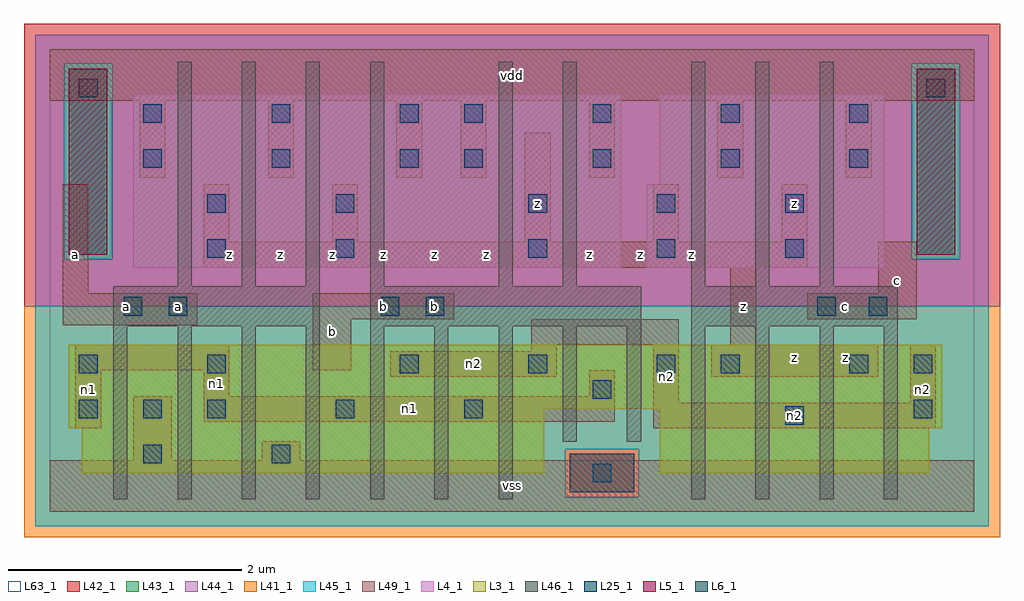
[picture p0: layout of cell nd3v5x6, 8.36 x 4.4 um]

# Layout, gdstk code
import gdstk
lib = gdstk.Library(unit=1e-6, precision=1e-09)
def R(c, l, rs):  # rectangles x0, y0, x1, y1
    for r in rs: c.add(gdstk.rectangle(r[:2], r[2:], *l))
def A(c, l, x, y, w, h, nx, ny, dx, dy):  # array of equal rectangles
    R(c, l, [(x+i*dx, y+j*dy, x+i*dx+w, y+j*dy+h) for i in range(nx) for j in range(ny)])
L3_1 = (3, 1)
L4_1 = (4, 1)
L5_1 = (5, 1)
L6_1 = (6, 1)
L25_1 = (25, 1)
L41_1 = (41, 1)
L42_1 = (42, 1)
L43_1 = (43, 1)
L44_1 = (44, 1)
L45_1 = (45, 1)
L46_1 = (46, 1)
L49_1 = (49, 1)
L63_1 = (63, 1)

nd3v5x6 = lib.new_cell('nd3v5x6')
R(nd3v5x6, L3_1, [(0.275,0.33,4.235,0.715), (5.225,0.33,7.535,0.715), (0.165,0.715,4.235,0.88), (5.225,0.715,7.645,0.88), (0.165,0.88,7.645,1.43)])
R(nd3v5x6, L4_1, [(0.715,2.09,4.895,3.575), (5.115,2.09,7.15,2.805), (5.225,2.805,7.15,3.575)])
R(nd3v5x6, L5_1, [(0.165,2.2,0.495,3.795), (7.425,2.2,7.755,3.795)])
R(nd3v5x6, L6_1, [(4.455,0.165,5.005,0.495)])
A(nd3v5x6, L25_1, 0.25, 0.8, 0.16, 0.16, 3, 1, 0.55, 0)
A(nd3v5x6, L25_1, 3, 1.185, 0.16, 0.16, 3, 1, 1.1, 0)
A(nd3v5x6, L25_1, 4.1, 2.175, 0.16, 0.16, 3, 2, 1.1, 0.385)
A(nd3v5x6, L25_1, 0.8, 2.945, 0.16, 0.16, 3, 2, 1.1, 0.385)
A(nd3v5x6, L25_1, 3.55, 2.945, 0.16, 0.16, 4, 2, 1.1, 0.385)
R(nd3v5x6, L25_1, [(4.65,0.25,4.81,0.41), (0.8,0.415,0.96,0.575), (1.9,0.415,2.06,0.575), (6.3,0.745,6.46,0.905), (2.45,0.8,2.61,0.96), (3.55,0.8,3.71,0.96), (7.4,0.8,7.56,0.96), (4.65,0.965,4.81,1.125), (0.25,1.185,0.41,1.345), (1.35,1.185,1.51,1.345), (5.75,1.185,5.91,1.345), (6.85,1.185,7.01,1.345), (7.4,1.185,7.56,1.345), (0.635,1.68,0.795,1.84), (1.02,1.68,1.18,1.84), (2.835,1.68,2.995,1.84), (3.22,1.68,3.38,1.84), (6.575,1.68,6.735,1.84), (7.015,1.68,7.175,1.84), (1.35,2.175,1.51,2.335), (2.45,2.175,2.61,2.335), (1.35,2.56,1.51,2.72), (2.45,2.56,2.61,2.72), (0.25,3.55,0.41,3.71), (7.51,3.55,7.67,3.71)])
R(nd3v5x6, L41_1, [(-0.22,-0.22,8.14,1.76)])
R(nd3v5x6, L42_1, [(-0.22,1.76,8.14,4.18)])
R(nd3v5x6, L43_1, [(4.455,0.165,5.005,0.495), (0.275,0.33,4.235,0.715), (5.225,0.33,7.535,0.715), (0.165,0.715,4.235,0.88), (5.225,0.715,7.645,0.88), (0.165,0.88,7.645,1.43), (0.715,2.09,4.895,3.575), (5.115,2.09,7.15,2.805), (0.165,2.2,0.495,3.795), (7.425,2.2,7.755,3.795), (5.225,2.805,7.15,3.575)])
R(nd3v5x6, L44_1, [(4.415,0.125,5.045,0.535), (-0.125,1.76,8.045,2.16), (-0.125,2.16,0.125,3.835), (0.535,2.16,7.385,3.835), (7.795,2.16,8.045,3.835), (-0.125,3.835,8.045,4.085)])
R(nd3v5x6, L45_1, [(-0.125,-0.125,8.045,0.125), (-0.125,0.125,4.415,0.535), (5.045,0.125,8.045,0.535), (-0.125,0.535,8.045,1.76), (0.125,2.16,0.535,3.835), (7.385,2.16,7.795,3.835)])
A(nd3v5x6, L46_1, 0.545, 0.105, 0.12, 1.485, 7, 1, 0.55, 0)
A(nd3v5x6, L46_1, 5.495, 0.105, 0.12, 1.485, 4, 1, 0.55, 0)
A(nd3v5x6, L46_1, 1.095, 1.93, 0.12, 1.925, 4, 1, 0.55, 0)
A(nd3v5x6, L46_1, 5.495, 1.93, 0.12, 1.925, 3, 1, 0.55, 0)
R(nd3v5x6, L46_1, [(4.395,0.6,4.515,1.59), (4.945,0.6,5.065,1.59), (0.545,1.59,2.315,1.93), (2.745,1.59,5.065,1.93), (5.495,1.59,7.265,1.93), (3.845,1.93,3.965,3.855), (4.395,1.93,4.515,3.855)])
A(nd3v5x6, L49_1, 0.77, 2.86, 0.22, 0.66, 3, 1, 1.1, 0)
A(nd3v5x6, L49_1, 3.52, 2.86, 0.22, 0.66, 4, 1, 1.1, 0)
R(nd3v5x6, L49_1, [(0,0,7.92,0.44), (0.715,0.44,1.045,0.99), (1.815,0.44,2.145,0.605), (0.22,0.715,0.44,1.21), (5.17,0.715,7.59,0.935), (1.32,0.77,4.84,0.99), (5.17,0.935,5.39,1.43), (7.37,0.935,7.59,1.43), (1.32,0.99,1.54,1.21), (4.62,0.99,4.84,1.21), (2.915,1.155,4.345,1.375), (5.665,1.155,7.095,1.43), (0.22,1.21,1.54,1.43), (2.255,1.21,2.585,1.65), (4.125,1.375,4.345,1.43), (4.125,1.43,5.39,1.65), (5.83,1.43,6.05,2.09), (0.11,1.595,1.265,1.87), (2.255,1.65,3.465,1.87), (6.49,1.65,7.425,1.87), (0.11,1.87,0.33,2.805), (7.095,1.87,7.425,2.31), (1.32,2.09,6.49,2.31), (1.32,2.31,1.54,2.805), (2.42,2.31,2.64,2.805), (4.07,2.31,4.29,3.245), (5.17,2.31,5.39,2.805), (6.27,2.31,6.49,2.805), (0,3.52,7.92,3.96)])
R(nd3v5x6, L63_1, [(0,0,7.92,3.96)])
nd3v5x6.add(gdstk.Label('n1', (0.33,1.045), layer=49, texttype=1))
nd3v5x6.add(gdstk.Label('a', (0.66,1.76), layer=49, texttype=1))
nd3v5x6.add(gdstk.Label('a', (1.1,1.76), layer=49, texttype=1))
nd3v5x6.add(gdstk.Label('a', (0.22,2.2), layer=49, texttype=1))
nd3v5x6.add(gdstk.Label('n1', (1.43,1.1), layer=49, texttype=1))
nd3v5x6.add(gdstk.Label('b', (2.86,1.76), layer=49, texttype=1))
nd3v5x6.add(gdstk.Label('b', (2.42,1.54), layer=49, texttype=1))
nd3v5x6.add(gdstk.Label('z', (1.54,2.2), layer=49, texttype=1))
nd3v5x6.add(gdstk.Label('z', (2.42,2.2), layer=49, texttype=1))
nd3v5x6.add(gdstk.Label('z', (2.86,2.2), layer=49, texttype=1))
nd3v5x6.add(gdstk.Label('z', (1.98,2.2), layer=49, texttype=1))
nd3v5x6.add(gdstk.Label('vss', (3.96,0.22), layer=49, texttype=1))
nd3v5x6.add(gdstk.Label('n2', (3.63,1.265), layer=49, texttype=1))
nd3v5x6.add(gdstk.Label('b', (3.3,1.76), layer=49, texttype=1))
nd3v5x6.add(gdstk.Label('z', (3.3,2.2), layer=49, texttype=1))
nd3v5x6.add(gdstk.Label('z', (4.62,2.2), layer=49, texttype=1))
nd3v5x6.add(gdstk.Label('z', (3.74,2.2), layer=49, texttype=1))
nd3v5x6.add(gdstk.Label('z', (4.18,2.64), layer=49, texttype=1))
nd3v5x6.add(gdstk.Label('vdd', (3.96,3.74), layer=49, texttype=1))
nd3v5x6.add(gdstk.Label('n1', (3.08,0.88), layer=49, texttype=1))
nd3v5x6.add(gdstk.Label('z', (5.94,1.76), layer=49, texttype=1))
nd3v5x6.add(gdstk.Label('n2', (5.28,1.155), layer=49, texttype=1))
nd3v5x6.add(gdstk.Label('z', (5.06,2.2), layer=49, texttype=1))
nd3v5x6.add(gdstk.Label('z', (5.5,2.2), layer=49, texttype=1))
nd3v5x6.add(gdstk.Label('n2', (7.48,1.045), layer=49, texttype=1))
nd3v5x6.add(gdstk.Label('n2', (6.38,0.825), layer=49, texttype=1))
nd3v5x6.add(gdstk.Label('z', (6.38,1.32), layer=49, texttype=1))
nd3v5x6.add(gdstk.Label('z', (6.82,1.32), layer=49, texttype=1))
nd3v5x6.add(gdstk.Label('c', (6.82,1.76), layer=49, texttype=1))
nd3v5x6.add(gdstk.Label('c', (7.26,1.98), layer=49, texttype=1))
nd3v5x6.add(gdstk.Label('z', (6.38,2.64), layer=49, texttype=1))

lib.write_gds('nd3v5x6.gds')
